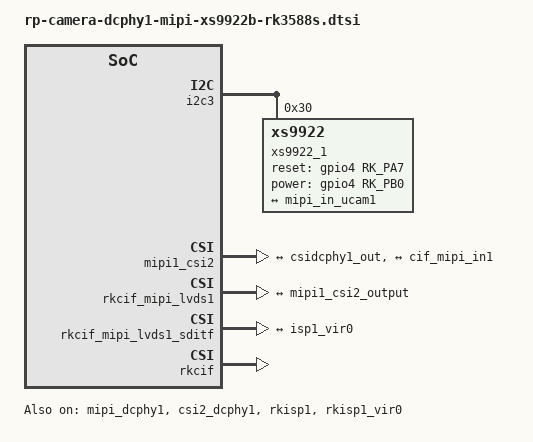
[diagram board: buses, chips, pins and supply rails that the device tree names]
/**
 * mipi csi to xs9922b config
 */
#define RP_CAMERA_XS9922B 

&i2c3 {
        status = "okay";
        pinctrl-names = "default";
        pinctrl-0 = <&i2c3m1_xfer>;


        xs9922_1: xs9922_1@30 {
                compatible = "xs9922";
                status = "okay";
                reg = <0x30>;
                clocks = <&cru CLK_MIPI_CAMARAOUT_M2>;
                clock-names = "xvclk";
                power-domains = <&power RK3588_PD_VI>;
                pinctrl-names = "default";
                pinctrl-0 = <&xs9922_pwr_1>;
                reset-gpios = <&gpio4 RK_PA7 GPIO_ACTIVE_HIGH>;
//                power-gpios = <&gpio4 RK_PB0 GPIO_ACTIVE_HIGH>;
                //avdd-supply = <&vcc_avdd>;
                //dovdd-supply = <&vcc_dovdd>;
                //dvdd-supply = <&vcc_dvdd>;
                rockchip,camera-module-index = <0>;
                rockchip,camera-module-facing = "back";
                rockchip,camera-module-name = "default";
                rockchip,camera-module-lens-name = "default";
                rockchip,default_rect= <1280 720>; 
                port {
                        xs9922_out1: endpoint {
                                remote-endpoint = <&mipi_in_ucam1>;
                                data-lanes = <1 2 3 4>;
                        };
                };
        };
};

#ifndef RP_DOUBLE_XS9922B   //rd-rk3588s-ahd share the same power-gpio
&xs9922_1 {
		power-gpios = <&gpio4 RK_PB0 GPIO_ACTIVE_HIGH>;
	}; 
	
&pinctrl {
	xs9922_1 {
		xs9922_pwr_1: camera-pwr-1 {
				rockchip,pins =
					<4 RK_PA7 RK_FUNC_GPIO &pcfg_pull_up>,
					<4 RK_PB0 RK_FUNC_GPIO &pcfg_pull_up>;
				};
		};
	};

#else
&pinctrl {
        xs9922_1 {
                xs9922_pwr_1: camera-pwr-1 {
                        rockchip,pins =
                            <4 RK_PA7 RK_FUNC_GPIO &pcfg_pull_up>;
                	};
        	};
	};
#endif


&mipi_dcphy1 {
	status = "okay";
};










// CIF


&csi2_dcphy1 {
        status = "okay";

        ports {
                #address-cells = <1>;
                #size-cells = <0>;
                port@0 {
                        reg = <0>;
                        #address-cells = <1>;
                        #size-cells = <0>;

                        mipi_in_ucam1: endpoint@1 {
                                reg = <1>;
                                remote-endpoint = <&xs9922_out1>;
                                data-lanes = <1 2 3 4>;
                        };
                };
                port@1 {
                        reg = <1>;
                        #address-cells = <1>;
                        #size-cells = <0>;

                        csidcphy1_out: endpoint@0 {
                                reg = <0>;
                                remote-endpoint = <&mipi1_csi2_input>;
                        };
                };
        };
};


&mipi1_csi2 {
	status = "okay";

	ports {
		#address-cells = <1>;
		#size-cells = <0>;

		port@0 {
			reg = <0>;
			#address-cells = <1>;
			#size-cells = <0>;

			mipi1_csi2_input: endpoint@0 {
				reg = <0>;
				remote-endpoint = <&csidcphy1_out>;
			};
		};

		port@1 {
			reg = <1>;
			#address-cells = <1>;
			#size-cells = <0>;
			
			mipi1_csi2_output: endpoint@1 {
				reg = <1>;
				remote-endpoint = <&cif_mipi_in1>;
			};

		};
	};
};


&rkcif_mipi_lvds1 {
	status = "okay";

	port {
		cif_mipi_in1: endpoint {
			remote-endpoint = <&mipi1_csi2_output>;
		};
	};
};

&rkcif_mipi_lvds1_sditf {
	status = "okay";

	port {
		mipi_lvds1_sditf: endpoint {
			remote-endpoint = <&isp1_vir0>;
		};
	};
};

&rkcif {
        status = "okay";
};

&rkcif_mmu {
        status = "okay";
};

&rkisp1 {
	status = "okay";
};

&isp1_mmu {
	status = "okay";
};

&rkisp1_vir0 {
	status = "okay";
	port {
		#address-cells = <1>;
		#size-cells = <0>;

		isp1_vir0: endpoint@0 {
			reg = <0>;
			remote-endpoint = <&mipi_lvds1_sditf>;
		};
	};
};
